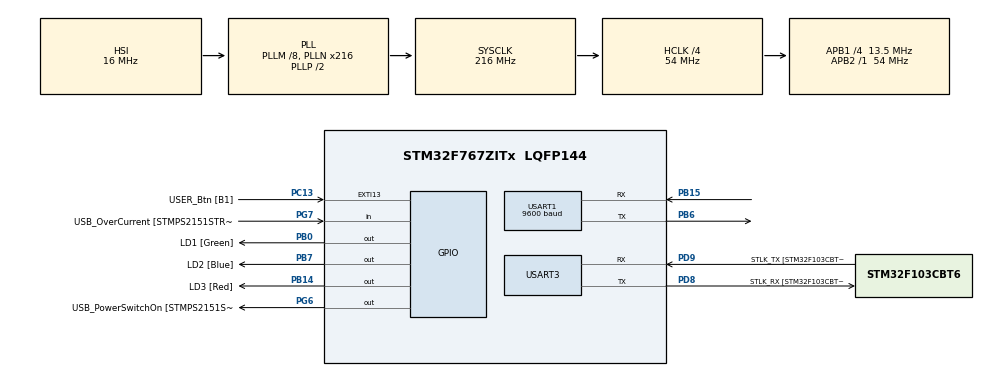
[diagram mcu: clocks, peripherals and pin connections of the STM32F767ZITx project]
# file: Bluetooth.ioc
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Mcu.Family=STM32F7
Mcu.Name=STM32F767ZITx
Mcu.Package=LQFP144
NVIC.PriorityGroup=NVIC_PRIORITYGROUP_4
NVIC.USART1_IRQn=true\:0\:0\:false\:false\:true\:true\:true
NVIC.USART3_IRQn=true\:0\:0\:false\:false\:true\:true\:true
PB0.GPIO_Label=LD1 [Green]
PB0.Signal=GPIO_Output
PB14.GPIO_Label=LD3 [Red]
PB14.Signal=GPIO_Output
PB15.Mode=Asynchronous
PB15.Signal=USART1_RX
PB6.Mode=Asynchronous
PB6.Signal=USART1_TX
PB7.GPIO_Label=LD2 [Blue]
PB7.Signal=GPIO_Output
PC13.GPIO_Label=USER_Btn [B1]
PC13.Signal=GPXTI13
PD8.GPIO_Label=STLK_RX [STM32F103CBT6_PA3]
PD8.Mode=Asynchronous
PD8.Signal=USART3_TX
PD9.GPIO_Label=STLK_TX [STM32F103CBT6_PA2]
PD9.Mode=Asynchronous
PD9.Signal=USART3_RX
PG6.GPIO_Label=USB_PowerSwitchOn [STMPS2151STR_EN]
PG6.Signal=GPIO_Output
PG7.GPIO_Label=USB_OverCurrent [STMPS2151STR_FAULT]
PG7.Signal=GPIO_Input
ProjectManager.HeapSize=0x200
ProjectManager.StackSize=0x400
ProjectManager.TargetToolchain=MDK-ARM V5.27
RCC.48MHZClocksFreq_Value=24000000
RCC.AHBCLKDivider=RCC_SYSCLK_DIV4
RCC.AHBFreq_Value=54000000
RCC.APB1CLKDivider=RCC_HCLK_DIV4
RCC.APB1Freq_Value=13500000
RCC.APB1TimFreq_Value=27000000
RCC.APB2Freq_Value=54000000
RCC.APB2TimFreq_Value=54000000
RCC.CortexFreq_Value=54000000
RCC.HCLKFreq_Value=54000000
RCC.HSE_VALUE=16000000
RCC.HSI_VALUE=16000000
RCC.LSE_VALUE=32768
RCC.PLLM=8
RCC.PLLMUL=RCC_PLL_MUL9
RCC.PLLN=216
RCC.PRESCALERUSB=RCC_USBCLKSOURCE_PLL_DIV1_5
RCC.SYSCLKFreq_VALUE=216000000
RCC.SYSCLKSource=RCC_SYSCLKSOURCE_PLLCLK
RCC.SYSCLKSourceVirtual=RCC_SYSCLKSOURCE_PLLCLK
RCC.USBFreq_Value=216000000
RCC.VCOOutputFreq_Value=432000000
USART1.BaudRate=9600
USART1.VirtualMode-Asynchronous=VM_ASYNC
USART3.VirtualMode-Asynchronous=VM_ASYNC
board=NUCLEO-F767ZI

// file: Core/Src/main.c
/* USER CODE BEGIN Header */
/**
  ******************************************************************************
  * @file           : main.c
  * @brief          : Main program body
  ******************************************************************************
  * @attention
  *
  * <h2><center>&copy; Copyright (c) 2021 STMicroelectronics.
  * All rights reserved.</center></h2>
  *
  * This software component is licensed by ST under BSD 3-Clause license,
  * the "License"; You may not use this file except in compliance with the
  * License. You may obtain a copy of the License at:
  *                        opensource.org/licenses/BSD-3-Clause
  *
  ******************************************************************************
  */
/* USER CODE END Header */
#include "main.h"
#include "usart.h"
#include "gpio.h"

/* USER CODE BEGIN Includes */
#include "fifo.h"
#include "ucmd.h"
/* USER CODE END Includes */

void SystemClock_Config(void);

/* USER CODE BEGIN 0 */

	extern ST_FIFO RxFifo_UART3;
	extern ST_FIFO TxFifo_UART3;
	extern ST_FIFO RxFifo_UART1;
	extern ST_FIFO TxFifo_UART1;

	static uint8_t Rx_Buffer_UART3[BUFFER_SIZE];
	static uint8_t Tx_Buffer_UART3[BUFFER_SIZE];
	static uint8_t Rx_Buffer_UART1[BUFFER_SIZE];
	static uint8_t Tx_Buffer_UART1[BUFFER_SIZE];

	extern int Rx_string_processing;
	extern int Tx_string_transmitting;

	extern uint8_t Message[BUFFER_SIZE];

	extern Command my_cmd_list;
/* USER CODE END 0 */

int main(void)
{
  /* USER CODE BEGIN 1 */
  char* HelloMessage = "Hello STM!\n\r\r";
	char* Promt = ">";
  /* USER CODE END 1 */

  /* MCU Configuration--------------------------------------------------------*/

  /* Reset of all peripherals, Initializes the Flash interface and the Systick. */
  HAL_Init();

  /* USER CODE BEGIN Init */

	RxFifo_UART3.fifo = Rx_Buffer_UART3;
	TxFifo_UART3.fifo = Tx_Buffer_UART3;
	RxFifo_UART1.fifo = Rx_Buffer_UART1;
	TxFifo_UART1.fifo = Tx_Buffer_UART1;

	RxFifo_UART3.fifo_len = RBUFF_SIZE;
	TxFifo_UART3.fifo_len = TBUFF_SIZE;
	RxFifo_UART1.fifo_len = RBUFF_SIZE;
	TxFifo_UART1.fifo_len = TBUFF_SIZE;

	fifo_init(&RxFifo_UART3);
	fifo_init(&TxFifo_UART3);
	fifo_init(&RxFifo_UART1);
	fifo_init(&TxFifo_UART1);

	Rx_string_processing=0;
	Tx_string_transmitting=0;

  /* USER CODE END Init */

  /* Configure the system clock */
  SystemClock_Config();

  /* Initialize all configured peripherals */
  MX_GPIO_Init();
  MX_USART3_UART_Init();
  MX_USART1_UART_Init();
  /* USER CODE BEGIN 2 */
	init_UART3();
	init_UART1();
	printmsg(HelloMessage, 3);
	printmsg(HelloMessage, 1);
  /* USER CODE END 2 */

  /* Infinite loop */
  /* USER CODE BEGIN WHILE */
  while (1)
  {
		if(Rx_string_processing)
		{
			ucmd_parse(&my_cmd_list," ",(char*) Message);
			Rx_string_processing = 0;
		}
    /* USER CODE END WHILE */

  }
}

void SystemClock_Config(void)
{
  RCC_OscInitTypeDef RCC_OscInitStruct = {0};
  RCC_ClkInitTypeDef RCC_ClkInitStruct = {0};
  RCC_PeriphCLKInitTypeDef PeriphClkInitStruct = {0};

  /** Configure the main internal regulator output voltage
  */
  __HAL_RCC_PWR_CLK_ENABLE();
  __HAL_PWR_VOLTAGESCALING_CONFIG(PWR_REGULATOR_VOLTAGE_SCALE3);
  /** Initializes the RCC Oscillators according to the specified parameters
  * in the RCC_OscInitTypeDef structure.
  */
  RCC_OscInitStruct.OscillatorType = RCC_OSCILLATORTYPE_HSI;
  RCC_OscInitStruct.HSIState = RCC_HSI_ON;
  RCC_OscInitStruct.HSICalibrationValue = RCC_HSICALIBRATION_DEFAULT;
  RCC_OscInitStruct.PLL.PLLState = RCC_PLL_ON;
  RCC_OscInitStruct.PLL.PLLSource = RCC_PLLSOURCE_HSI;
  RCC_OscInitStruct.PLL.PLLM = 8;
  RCC_OscInitStruct.PLL.PLLN = 216;
  RCC_OscInitStruct.PLL.PLLP = RCC_PLLP_DIV2;
  RCC_OscInitStruct.PLL.PLLQ = 2;
  if (HAL_RCC_OscConfig(&RCC_OscInitStruct) != HAL_OK)
  {
    Error_Handler();
  }
  /** Initializes the CPU, AHB and APB buses clocks
  */
  RCC_ClkInitStruct.ClockType = RCC_CLOCKTYPE_HCLK|RCC_CLOCKTYPE_SYSCLK
                              |RCC_CLOCKTYPE_PCLK1|RCC_CLOCKTYPE_PCLK2;
  RCC_ClkInitStruct.SYSCLKSource = RCC_SYSCLKSOURCE_PLLCLK;
  RCC_ClkInitStruct.AHBCLKDivider = RCC_SYSCLK_DIV4;
  RCC_ClkInitStruct.APB1CLKDivider = RCC_HCLK_DIV4;
  RCC_ClkInitStruct.APB2CLKDivider = RCC_HCLK_DIV1;

  if (HAL_RCC_ClockConfig(&RCC_ClkInitStruct, FLASH_LATENCY_1) != HAL_OK)
  {
    Error_Handler();
  }
  PeriphClkInitStruct.PeriphClockSelection = RCC_PERIPHCLK_USART1|RCC_PERIPHCLK_USART3;
  PeriphClkInitStruct.Usart1ClockSelection = RCC_USART1CLKSOURCE_PCLK2;
  PeriphClkInitStruct.Usart3ClockSelection = RCC_USART3CLKSOURCE_PCLK1;
  if (HAL_RCCEx_PeriphCLKConfig(&PeriphClkInitStruct) != HAL_OK)
  {
    Error_Handler();
  }
}

void Error_Handler(void)
{
  __disable_irq();
  while (1)
  {
  }
}

/************************ (C) COPYRIGHT STMicroelectronics *****END OF FILE****/
